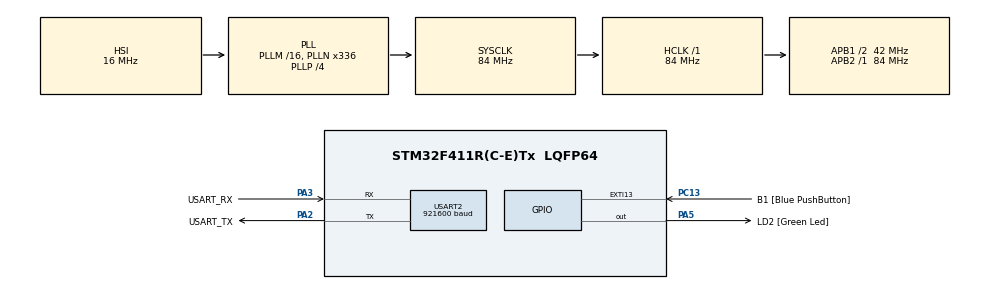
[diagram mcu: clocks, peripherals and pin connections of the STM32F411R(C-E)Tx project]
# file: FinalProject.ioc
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FREERTOS.Tasks01=defaultTask,0,128,StartDefaultTask,Default,NULL
FREERTOS.Timers01=secondTick,secondTickCallback,osTimerPeriodic,Default,NULL,Dynamic,NULL
FREERTOS.configUSE_TIMERS=1
Mcu.Family=STM32F4
Mcu.Name=STM32F411R(C-E)Tx
Mcu.Package=LQFP64
NVIC.PriorityGroup=NVIC_PRIORITYGROUP_4
NVIC.USART2_IRQn=true\:15\:0\:true\:false\:true\:true\:true\:true
PA13.GPIO_Label=TMS
PA13.Mode=Serial_Wire
PA13.Signal=SYS_JTMS-SWDIO
PA14.GPIO_Label=TCK
PA14.Mode=Serial_Wire
PA14.Signal=SYS_JTCK-SWCLK
PA2.GPIO_Label=USART_TX
PA2.Mode=Asynchronous
PA2.Signal=USART2_TX
PA3.GPIO_Label=USART_RX
PA3.Mode=Asynchronous
PA3.Signal=USART2_RX
PA5.GPIO_Label=LD2 [Green Led]
PA5.Signal=GPIO_Output
PB3.GPIO_Label=SWO
PB3.Signal=SYS_JTDO-SWO
PC13-ANTI_TAMP.GPIO_Label=B1 [Blue PushButton]
PC13-ANTI_TAMP.GPIO_ModeDefaultEXTI=GPIO_MODE_IT_FALLING
PC13-ANTI_TAMP.Signal=GPXTI13
PC14-OSC32_IN.Mode=LSE-External-Oscillator
PC14-OSC32_IN.Signal=RCC_OSC32_IN
PC15-OSC32_OUT.Mode=LSE-External-Oscillator
PC15-OSC32_OUT.Signal=RCC_OSC32_OUT
PH0\ -\ OSC_IN.Mode=HSE-External-Clock-Source
PH0\ -\ OSC_IN.Signal=RCC_OSC_IN
PH1\ -\ OSC_OUT.Mode=HSE-External-Clock-Source
PH1\ -\ OSC_OUT.Signal=RCC_OSC_OUT
ProjectManager.HeapSize=0x200
ProjectManager.StackSize=0x400
ProjectManager.TargetToolchain=STM32CubeIDE
RCC.48MHZClocksFreq_Value=84000000
RCC.AHBFreq_Value=84000000
RCC.APB1CLKDivider=RCC_HCLK_DIV2
RCC.APB1Freq_Value=42000000
RCC.APB1TimFreq_Value=84000000
RCC.APB2Freq_Value=84000000
RCC.APB2TimFreq_Value=84000000
RCC.CortexFreq_Value=84000000
RCC.FLatency-AdvancedSettings=FLASH_LATENCY_2
RCC.HCLKFreq_Value=84000000
RCC.HSE_VALUE=8000000
RCC.HSI_VALUE=16000000
RCC.PLLN=336
RCC.PLLP=RCC_PLLP_DIV4
RCC.SYSCLKFreq_VALUE=84000000
RCC.SYSCLKSource=RCC_SYSCLKSOURCE_PLLCLK
RCC.VCOOutputFreq_Value=336000000
USART2.BaudRate=921600
USART2.VirtualMode=VM_ASYNC
VP_FREERTOS_VS_CMSIS_V1.Mode=CMSIS_V1
board=NUCLEO-F411RE

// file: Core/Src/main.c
/* USER CODE BEGIN Header */
/**
 ******************************************************************************
 * @file           : main.c
 * @brief          : Main program body
 ******************************************************************************
 * @attention
 *
 * <h2><center>&copy; Copyright (c) 2020 STMicroelectronics.
 * All rights reserved.</center></h2>
 *
 * This software component is licensed by ST under BSD 3-Clause license,
 * the "License"; You may not use this file except in compliance with the
 * License. You may obtain a copy of the License at:
 *                        opensource.org/licenses/BSD-3-Clause
 *
 ******************************************************************************
 */
/* USER CODE END Header */

#include "main.h"
#include "cmsis_os.h"

UART_HandleTypeDef huart2;

osThreadId defaultTaskHandle;
osTimerId secondTickHandle;

void SystemClock_Config(void);
static void MX_GPIO_Init(void);
static void MX_USART2_UART_Init(void);
void StartDefaultTask(void const * argument);
void secondTickCallback(void const * argument);

/* USER CODE BEGIN 0 */
#define NCOL 80
#define NROW 23

#define SCREEN_MAIN_MENU 0
#define SCREEN_INPUT_SIZE 1
#define SCREEN_PLAY 2
#define SCREEN_PAUSE 3
#define SCREEN_HOW_TO_PLAY 4
#define SCREEN_CONGRATULATION 5

#define CHAR_LEFT 'a'
#define CHAR_RIGHT 'd'
#define CHAR_UP 'w'
#define CHAR_DOWN 's'
#define CHAR_ENTER 13
#define CHAR_BACKSPACE 8
#define CHAR_ESC '\033'
#define CHAR_SPACE ' '

int curr_time = 0;

char screen[NROW + 1][NCOL + 1];
char input;

int max(int a, int b) {
	return (a > b) ? a : b;
}

int randint(int s, int e) {
	return rand() % (e - s + 1) + s;
}

void swap(int* a, int* b) {
	int temp = *a;
	*a = *b;
	*b = temp;
}

/*
 * ============== CONSTANTS ==============
 */

char* MAIN_MENU[] = {"START", "HOW TO PLAY"};
char* PAUSE_MENU[] = {"RESUME", "RESTART", "EXIT"};

char* HOW_TO_PLAY[] = {
	"Press A, D to move left / right",
	"Press SPACE to toggle swap mode",
	"Press ESC to pause or restart"
};

/*
 ============== SCREEN ==============
 */

int curr_screen = SCREEN_MAIN_MENU;

void printline(char s[]) {
	HAL_UART_Transmit(&huart2, s, sizeof(s), 1000000);
	//HAL_UART_Transmit(&huart2, "\n", sizeof("\n"), 1000000);
}

void printscreen() {
	//char s[NROW * NCOL + 2 * NROW + 1];
	HAL_UART_Transmit(&huart2, "\033[H\033[J", sizeof("\033[H\033[J"), 1000000);
	int k = 0;
	for (int i = 0; i < NROW; i++) {
		HAL_UART_Transmit(&huart2, &screen[i], NCOL, 1000000);
		for (int j = 0; j < NCOL; j++) {
			//s[k++] = screen[i][j];
			//HAL_UART_Transmit(&huart2, &screen[i][j], sizeof(screen[i][j]), 1000000);
		}
		//s[k++] = '\r';
		//s[k++] = '\n';
		HAL_UART_Transmit(&huart2, "\r\n", sizeof("\r\n"), 1000000);
	}
	//s[k] = 0;
	//HAL_UART_Transmit(&huart2, s, sizeof(s), 1000000);
}

void printscreenbak() {
	for (int i = 0; i < NROW; i++) {
		printline(screen[i]);
	}
}

void resetscreen() {
	for (int i = 0; i < NROW; i++) {
		screen[i][NCOL] = 0;
		for (int j = 0; j < NCOL; j++) {
			screen[i][j] = ' ';
		}
	}
}

void fillstring(char *s, int r, int c) {
	int len = strlen(s);
	for (int i = 0; i < len; i++) {
		screen[r][c + i] = s[i];
	}
}

void fillstringcenter(char *s, int r, int isactive) {
	int len = strlen(s);
	fillstring(s, r, (NCOL-len)/2);
	if (isactive) {
		screen[r][(NCOL-len)/2 - 2] = '>';
		screen[r][(NCOL-len)/2 + len + 1] = '<';
	}
}

/*
 * ============== MENU ==============
 */

int menu_activei = 0;
int menu_maxi = 0;

void menu_up() {
	menu_activei--;
	if (menu_activei < 0) menu_activei = 0;
}

void menu_down() {
	menu_activei++;
	if (menu_activei > menu_maxi) {
		menu_activei = menu_maxi;
	}
}

void fillmenu(char** menudata, int menulen, int activei) {
	int LOGO_ROW = 8;
	int START_ROW = 12;

	if (menulen > 2) {
		LOGO_ROW -= 2;
		START_ROW -= 2;
	}

	char* TITLE;
	if (curr_time % 2 == 0) {
		TITLE = "SWAPSORT";
	} else {
		TITLE = "SORTSWAP";
	}

	fillstringcenter(TITLE, LOGO_ROW, 0);

	for(int i = 0;i<menulen;i++) {
		int ROW = START_ROW + i*2;

		fillstringcenter(menudata[i], ROW, i == activei);
	}

	fillstringcenter("Press W to Up, S to Down, ENTER to Choose", NROW-1, 0);
}

/*
 ============== STICK NUMBERS ==============
 */

int numbers[100];
int number_len = 0;
int number_active_i = 0;
int number_swap_mode = 0;

int scan_count = 0;
int swap_count = 0;

// Score
char swap_score_text[100];
char scan_score_text[100];

int play_start_time = 0;
char play_time_text[100];

int is_playing = 0;

void makestick(int x, int height, char c) {
	for (int i = NROW - 1; i >= max(NROW - height, 0); i--) {
		screen[i][x] = c;
	}
}

void initstick(int len) {
	number_len = len;
	for (int i = 0; i < number_len; i++) {
		numbers[i] = randint(1, NROW - 4);
	}
	number_active_i = 0;
	number_swap_mode = 0;
	play_start_time = curr_time;
	scan_count = 0;
	swap_count = 0;
	is_playing = 1;
}

void drawstick() {
	int stickwidth = NCOL / number_len;
	int stickmargin = (NCOL % number_len) / 2;
	for (int i = stickmargin, j = 0; j < number_len; i += stickwidth, j++) {
		makestick(i, numbers[j], (number_active_i == j) ? (number_swap_mode ? '#' : 'X') : '|');
	}

	sprintf(swap_score_text, "SWAP %d", swap_count);
	sprintf(scan_score_text, "SCAN %d", scan_count);

	fillstring(swap_score_text, 0, 0);
	fillstring(scan_score_text, 1, 0);

	// Play time
	int play_min = (curr_time - play_start_time) / 60;
	int play_second = (curr_time - play_start_time) % 60;

	sprintf(play_time_text, "%02d:%02d", play_min, play_second);

	fillstring(play_time_text, 0, NCOL-5);
}

/*
 * ============== TEXT INPUT ==============
 */
char text_input[256];
int text_p = 0;
int text_max_len = 2;
char* text_input_hint = "";

void clear_text_input() {
	for(int i = 0;i<text_p;i++) {
		text_input[i] = 0;
	}
	text_p = 0;
}

void text_input_append(char c) {
	if (text_p >= text_max_len) return;
	text_input[text_p++] = c;
}

void text_input_backspace() {
	if(text_p == 0) return;
	text_input[--text_p] = 0;
}

int text_input_read_int() {
	return atoi(text_input);
}

void fill_text_input(int r, int c) {
	fillstring(text_input, r, c);
}

void fill_text_input_center(int r) {
	fillstringcenter(text_input, r, 0);
}

void render_text_input_screen(char* title) {
	int TITLE_ROW = 8;
	int INPUT_ROW = 12;
	int HINT_ROW = 13;
	int ENTER_ROW = 16;

	fillstringcenter(title, TITLE_ROW, 0);
	fill_text_input_center(INPUT_ROW);
	fillstringcenter(text_input_hint, HINT_ROW, 0);
	fillstringcenter("Press ENTER to Submit, ESC to Back", ENTER_ROW, 0);
}

/*
 * ============== HOW TO PLAY ==============
 */
void render_how_to_play() {
	int TITLE_ROW = 5;
	int CONTENT_ROW = 9;
	int CONTINUE_ROW = 17;

	fillstringcenter("HOW TO PLAY", TITLE_ROW, 0);

	for(int i = 0; i < 3; i++) {
		fillstringcenter(HOW_TO_PLAY[i], CONTENT_ROW + i*2, 0);
	}

	fillstringcenter("Press any key to continue...", CONTINUE_ROW, 0);
}

/*
 * ============== CONGRATULATION ==============
 */
int finish_time = 0;

void render_congratulation() {
	int TITLE_ROW = 5;
	int CONTENT_ROW = 11;
	int CONTINUE_ROW = 18;

	fillstringcenter("CONGRATULATION", TITLE_ROW, 0);
	fillstringcenter("YOU HAVE SORTED IT USING", TITLE_ROW + 1, 0);

	int play_min = (finish_time - play_start_time) / 60;
	int play_second = (finish_time - play_start_time) % 60;

	sprintf(swap_score_text, "SWAP %d", swap_count);
	sprintf(scan_score_text, "SCAN %d", scan_count);
	sprintf(play_time_text, "TIME %02d:%02d", play_min, play_second);

	fillstring(swap_score_text, CONTENT_ROW, 35);
	fillstring(scan_score_text, CONTENT_ROW + 1, 35);
	fillstring(play_time_text, CONTENT_ROW + 2, 35);

	fillstringcenter("Press ENTER to continue...", CONTINUE_ROW, 0);
}

/*
 * ============== SCREEN CONTROLLER ==============
 */

void change_screen(int name) {
	curr_screen = name;
	switch(name) {
	case SCREEN_MAIN_MENU:
		menu_activei = 0;
		menu_maxi = 1;
		break;
	case SCREEN_INPUT_SIZE:
		clear_text_input();
		text_max_len = 2;
		break;
	case SCREEN_PAUSE:
		menu_activei = 0;
		menu_maxi = 2;
		break;
	case SCREEN_CONGRATULATION:
		is_playing = 0;
		finish_time = curr_time;
		break;
	}
}

/* USER CODE END 0 */

int main(void)
{
  /* USER CODE BEGIN 1 */
	change_screen(SCREEN_MAIN_MENU);
  /* USER CODE END 1 */

  /* MCU Configuration--------------------------------------------------------*/

  /* Reset of all peripherals, Initializes the Flash interface and the Systick. */
  HAL_Init();

  /* Configure the system clock */
  SystemClock_Config();

  /* Initialize all configured peripherals */
  MX_GPIO_Init();
  MX_USART2_UART_Init();

  /* Create the timer(s) */
  /* definition and creation of secondTick */
  osTimerDef(secondTick, secondTickCallback);
  secondTickHandle = osTimerCreate(osTimer(secondTick), osTimerPeriodic, NULL);
  osTimerStart(secondTickHandle, 1000);

  /* Create the thread(s) */
  /* definition and creation of defaultTask */
  osThreadDef(defaultTask, StartDefaultTask, osPriorityNormal, 0, 128);
  defaultTaskHandle = osThreadCreate(osThread(defaultTask), NULL);

  /* Start scheduler */
  osKernelStart();

  /* We should never get here as control is now taken by the scheduler */

  /* Infinite loop */
	while (1) {

	}
}

void SystemClock_Config(void)
{
  RCC_OscInitTypeDef RCC_OscInitStruct = {0};
  RCC_ClkInitTypeDef RCC_ClkInitStruct = {0};

  /** Configure the main internal regulator output voltage
  */
  __HAL_RCC_PWR_CLK_ENABLE();
  __HAL_PWR_VOLTAGESCALING_CONFIG(PWR_REGULATOR_VOLTAGE_SCALE1);
  /** Initializes the CPU, AHB and APB busses clocks
  */
  RCC_OscInitStruct.OscillatorType = RCC_OSCILLATORTYPE_HSI;
  RCC_OscInitStruct.HSIState = RCC_HSI_ON;
  RCC_OscInitStruct.HSICalibrationValue = RCC_HSICALIBRATION_DEFAULT;
  RCC_OscInitStruct.PLL.PLLState = RCC_PLL_ON;
  RCC_OscInitStruct.PLL.PLLSource = RCC_PLLSOURCE_HSI;
  RCC_OscInitStruct.PLL.PLLM = 16;
  RCC_OscInitStruct.PLL.PLLN = 336;
  RCC_OscInitStruct.PLL.PLLP = RCC_PLLP_DIV4;
  RCC_OscInitStruct.PLL.PLLQ = 4;
  if (HAL_RCC_OscConfig(&RCC_OscInitStruct) != HAL_OK)
  {
    Error_Handler();
  }
  /** Initializes the CPU, AHB and APB busses clocks
  */
  RCC_ClkInitStruct.ClockType = RCC_CLOCKTYPE_HCLK|RCC_CLOCKTYPE_SYSCLK
                              |RCC_CLOCKTYPE_PCLK1|RCC_CLOCKTYPE_PCLK2;
  RCC_ClkInitStruct.SYSCLKSource = RCC_SYSCLKSOURCE_PLLCLK;
  RCC_ClkInitStruct.AHBCLKDivider = RCC_SYSCLK_DIV1;
  RCC_ClkInitStruct.APB1CLKDivider = RCC_HCLK_DIV2;
  RCC_ClkInitStruct.APB2CLKDivider = RCC_HCLK_DIV1;

  if (HAL_RCC_ClockConfig(&RCC_ClkInitStruct, FLASH_LATENCY_2) != HAL_OK)
  {
    Error_Handler();
  }
}

static void MX_USART2_UART_Init(void)
{

  huart2.Instance = USART2;
  huart2.Init.BaudRate = 921600;
  huart2.Init.WordLength = UART_WORDLENGTH_8B;
  huart2.Init.StopBits = UART_STOPBITS_1;
  huart2.Init.Parity = UART_PARITY_NONE;
  huart2.Init.Mode = UART_MODE_TX_RX;
  huart2.Init.HwFlowCtl = UART_HWCONTROL_NONE;
  huart2.Init.OverSampling = UART_OVERSAMPLING_16;
  if (HAL_UART_Init(&huart2) != HAL_OK)
  {
    Error_Handler();
  }

}

static void MX_GPIO_Init(void)
{
  GPIO_InitTypeDef GPIO_InitStruct = {0};

  /* GPIO Ports Clock Enable */
  __HAL_RCC_GPIOC_CLK_ENABLE();
  __HAL_RCC_GPIOH_CLK_ENABLE();
  __HAL_RCC_GPIOA_CLK_ENABLE();
  __HAL_RCC_GPIOB_CLK_ENABLE();

  /*Configure GPIO pin Output Level */
  HAL_GPIO_WritePin(LD2_GPIO_Port, LD2_Pin, GPIO_PIN_RESET);

  /*Configure GPIO pin : B1_Pin */
  GPIO_InitStruct.Pin = B1_Pin;
  GPIO_InitStruct.Mode = GPIO_MODE_IT_FALLING;
  GPIO_InitStruct.Pull = GPIO_NOPULL;
  HAL_GPIO_Init(B1_GPIO_Port, &GPIO_InitStruct);

  /*Configure GPIO pin : LD2_Pin */
  GPIO_InitStruct.Pin = LD2_Pin;
  GPIO_InitStruct.Mode = GPIO_MODE_OUTPUT_PP;
  GPIO_InitStruct.Pull = GPIO_NOPULL;
  GPIO_InitStruct.Speed = GPIO_SPEED_FREQ_LOW;
  HAL_GPIO_Init(LD2_GPIO_Port, &GPIO_InitStruct);

}

/* USER CODE BEGIN 4 */
void HAL_UART_RxCpltCallback(UART_HandleTypeDef *huart) {
	int old_number_active_i;

	switch (curr_screen) {
	case SCREEN_MAIN_MENU:
		switch(input) {
		case CHAR_DOWN:
			menu_down();
			break;
		case CHAR_UP:
			menu_up();
			break;
		case CHAR_ENTER:
		case CHAR_SPACE:
			if (menu_activei == 0) {
				change_screen(SCREEN_INPUT_SIZE);
			} else if (menu_activei == 1) {
				change_screen(SCREEN_HOW_TO_PLAY);
			}
			break;
		}
		break;
	case SCREEN_INPUT_SIZE:
		if (input >= '0' && input <= '9') {
			text_input_append(input);
		} else if (input == CHAR_ENTER) {
			if (text_p == 0) {
				text_input_hint = "Cannot empty";
			} else {
				int size = text_input_read_int();
				if (size > 0 && size <= 80) {
					initstick(size);
					change_screen(SCREEN_PLAY);
					text_input_hint = "";
				} else {
					text_input_hint = "Must be 1 - 80";
				}
			}
		} else if (input == CHAR_BACKSPACE) {
			text_input_backspace();
		} else if (input == CHAR_ESC) {
			change_screen(SCREEN_MAIN_MENU);
			text_input_hint = "";
		}
		break;

	case SCREEN_PLAY:
		old_number_active_i = number_active_i;
		switch(input) {
		case CHAR_LEFT:
			number_active_i--;
			if (number_active_i < 0) number_active_i = number_len - 1;
			if (number_swap_mode) {
				swap(&numbers[old_number_active_i], &numbers[number_active_i]);
				swap_count++;
			} else {
				scan_count++;
			}
			break;
		case CHAR_RIGHT:
			number_active_i++;
			if (number_active_i >= number_len) number_active_i = 0;
			if (number_swap_mode) {
				swap(&numbers[old_number_active_i], &numbers[number_active_i]);
				swap_count++;
			} else {
				scan_count++;
			}
			break;
		case CHAR_SPACE:
			number_swap_mode = !number_swap_mode;
			break;
		case CHAR_ESC:
			change_screen(SCREEN_PAUSE);
			break;
		}
		break;

	case SCREEN_PAUSE:
		switch(input) {
		case CHAR_DOWN:
			menu_down();
			break;
		case CHAR_UP:
			menu_up();
			break;
		case CHAR_ENTER:
		case CHAR_SPACE:
			if (menu_activei == 0) {
				change_screen(SCREEN_PLAY);
			} else if (menu_activei == 1) {
				is_playing = 0;
				change_screen(SCREEN_INPUT_SIZE);
			} else if (menu_activei == 2) {
				is_playing = 0;
				change_screen(SCREEN_MAIN_MENU);
			}
			break;
		case CHAR_ESC:
			change_screen(SCREEN_PLAY);
			break;
		}
		break;

	case SCREEN_HOW_TO_PLAY:
	case SCREEN_CONGRATULATION:
		if (input == CHAR_ENTER) {
			change_screen(SCREEN_MAIN_MENU);
		}
		break;
	}

	HAL_UART_Receive_IT(&huart2, &input, sizeof(input));
}
/* USER CODE END 4 */

void StartDefaultTask(void const * argument)
{
  /* USER CODE BEGIN 5 */
	HAL_UART_Receive_IT(&huart2, &input, sizeof(input));
	/* Infinite loop */
	for (;;) {
		resetscreen();

		// Check for play sorted
		if (is_playing) {
			int is_sorted = 1;
			for(int i = 0;i<number_len-1;i++) {
				if (numbers[i] > numbers[i+1]) {
					is_sorted = 0;
					break;
				}
			}

			if (is_sorted) {
				change_screen(SCREEN_CONGRATULATION);
			}
		}

		switch(curr_screen) {
		case SCREEN_MAIN_MENU:
			fillmenu(MAIN_MENU, 2, menu_activei);
			break;
		case SCREEN_INPUT_SIZE:
			render_text_input_screen("Input array size (Maximum 80)");
			break;
		case SCREEN_PLAY:
			drawstick();
			break;
		case SCREEN_PAUSE:
			fillmenu(PAUSE_MENU, 3, menu_activei);
			break;
		case SCREEN_HOW_TO_PLAY:
			render_how_to_play();
			break;
		case SCREEN_CONGRATULATION:
			render_congratulation();
			break;
		}

		if (curr_screen == SCREEN_CONGRATULATION) {
			if (curr_time % 2 == 0) {
				HAL_GPIO_WritePin(GPIOA, GPIO_PIN_5, GPIO_PIN_SET);
			} else {
				HAL_GPIO_WritePin(GPIOA, GPIO_PIN_5, GPIO_PIN_RESET);
			}
		} else {
			HAL_GPIO_WritePin(GPIOA, GPIO_PIN_5, GPIO_PIN_RESET);
		}

		rand();

		printscreen();
		osDelay(200);
	}
  /* USER CODE END 5 */
}

/* secondTickCallback function */
void secondTickCallback(void const * argument)
{
  /* USER CODE BEGIN secondTickCallback */
	curr_time++;
  /* USER CODE END secondTickCallback */
}

void Error_Handler(void)
{
}

/************************ (C) COPYRIGHT STMicroelectronics *****END OF FILE****/
